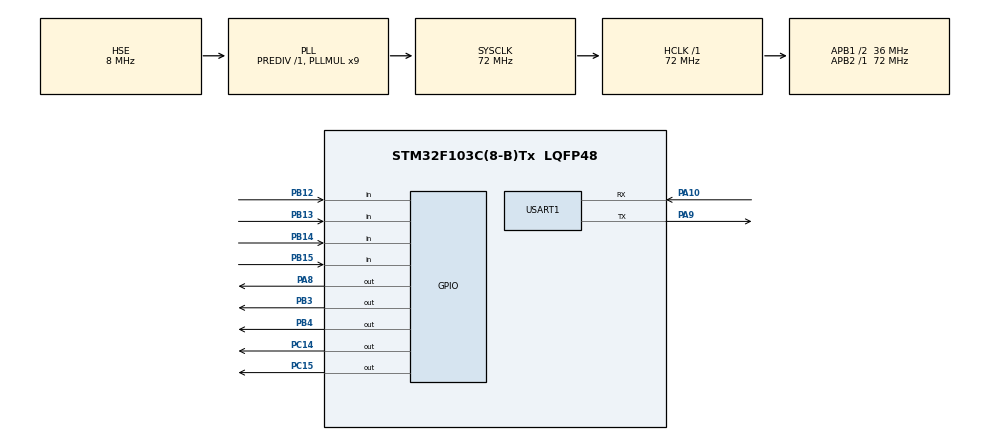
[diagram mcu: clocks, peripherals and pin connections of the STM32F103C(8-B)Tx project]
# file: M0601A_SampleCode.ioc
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Mcu.Family=STM32F1
Mcu.Name=STM32F103C(8-B)Tx
Mcu.Package=LQFP48
NVIC.PriorityGroup=NVIC_PRIORITYGROUP_4
NVIC.USART1_IRQn=true\:0\:0\:false\:false\:true\:true\:true
PA10.Mode=Asynchronous
PA10.Signal=USART1_RX
PA13.Mode=Serial_Wire
PA13.Signal=SYS_JTMS-SWDIO
PA14.Mode=Serial_Wire
PA14.Signal=SYS_JTCK-SWCLK
PA8.GPIO_Speed=GPIO_SPEED_FREQ_HIGH
PA8.Signal=GPIO_Output
PA9.Mode=Asynchronous
PA9.Signal=USART1_TX
PB12.Signal=GPIO_Input
PB13.Signal=GPIO_Input
PB14.Signal=GPIO_Input
PB15.Signal=GPIO_Input
PB3.Signal=GPIO_Output
PB4.Signal=GPIO_Output
PC14-OSC32_IN.Signal=GPIO_Output
PC15-OSC32_OUT.Signal=GPIO_Output
PD0-OSC_IN.Mode=HSE-External-Oscillator
PD0-OSC_IN.Signal=RCC_OSC_IN
PD1-OSC_OUT.Mode=HSE-External-Oscillator
PD1-OSC_OUT.Signal=RCC_OSC_OUT
ProjectManager.HeapSize=0x200
ProjectManager.StackSize=0x400
ProjectManager.TargetToolchain=MDK-ARM V5
RCC.AHBFreq_Value=72000000
RCC.APB1CLKDivider=RCC_HCLK_DIV2
RCC.APB1Freq_Value=36000000
RCC.APB1TimFreq_Value=72000000
RCC.APB2Freq_Value=72000000
RCC.APB2TimFreq_Value=72000000
RCC.HCLKFreq_Value=72000000
RCC.PLLMUL=RCC_PLL_MUL9
RCC.PLLSourceVirtual=RCC_PLLSOURCE_HSE
RCC.SYSCLKFreq_VALUE=72000000
RCC.SYSCLKSource=RCC_SYSCLKSOURCE_PLLCLK
RCC.USBFreq_Value=72000000
USART1.VirtualMode=VM_ASYNC
USART1.WordLength=WORDLENGTH_8B
board=custom

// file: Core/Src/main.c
/* USER CODE BEGIN Header */
/**
  ******************************************************************************
  * @file           : main.c
  * @brief          : Main program body
  ******************************************************************************
  * @attention
  *
  * Copyright (c) 2021 STMicroelectronics.
  * All rights reserved.
  *
  * This software is licensed under terms that can be found in the LICENSE file
  * in the root directory of this software component.
  * If no LICENSE file comes with this software, it is provided AS-IS.
  *
  ******************************************************************************
  */
/* USER CODE END Header */
#include "main.h"
#include "usart.h"
#include "gpio.h"

/* USER CODE BEGIN PV */
// Model:CRC-8/MAXIM
//polynomial x8 + x5 + x4 + 1
const char CRC8Table[]={
  0, 94, 188, 226, 97, 63, 221, 131, 194, 156, 126, 32, 163, 253, 31, 65,
  157, 195, 33, 127, 252, 162, 64, 30, 95, 1, 227, 189, 62, 96, 130, 220,
  35, 125, 159, 193, 66, 28, 254, 160, 225, 191, 93, 3, 128, 222, 60, 98,
  190, 224, 2, 92, 223, 129, 99, 61, 124, 34, 192, 158, 29, 67, 161, 255,
  70, 24, 250, 164, 39, 121, 155, 197, 132, 218, 56, 102, 229, 187, 89, 7,
  219, 133, 103, 57, 186, 228, 6, 88, 25, 71, 165, 251, 120, 38, 196, 154,
  101, 59, 217, 135, 4, 90, 184, 230, 167, 249, 27, 69, 198, 152, 122, 36,
  248, 166, 68, 26, 153, 199, 37, 123, 58, 100, 134, 216, 91, 5, 231, 185,
  140, 210, 48, 110, 237, 179, 81, 15, 78, 16, 242, 172, 47, 113, 147, 205,
  17, 79, 173, 243, 112, 46, 204, 146, 211, 141, 111, 49, 178, 236, 14, 80,
  175, 241, 19, 77, 206, 144, 114, 44, 109, 51, 209, 143, 12, 82, 176, 238,
  50, 108, 142, 208, 83, 13, 239, 177, 240, 174, 76, 18, 145, 207, 45, 115,
  202, 148, 118, 40, 171, 245, 23, 73, 8, 86, 180, 234, 105, 55, 213, 139,
  87, 9, 235, 181, 54, 104, 138, 212, 149, 203, 41, 119, 244, 170, 72, 22,
  233, 183, 85, 11, 136, 214, 52, 106, 43, 117, 151, 201, 74, 20, 246, 168,
  116, 42, 200, 150, 21, 75, 169, 247, 182, 232, 10, 84, 215, 137, 107, 53
};

uint8_t Tx[10];
uint8_t Rx[10];

/* USER CODE END PV */

void SystemClock_Config(void);

int main(void)
{

  /* MCU Configuration--------------------------------------------------------*/

  /* Reset of all peripherals, Initializes the Flash interface and the Systick. */
  HAL_Init();

  /* Configure the system clock */
  SystemClock_Config();

  /* Initialize all configured peripherals */
  MX_GPIO_Init();
  MX_USART1_UART_Init();
  /* USER CODE BEGIN 2 */
	HAL_UART_Receive_IT(&huart1,(uint8_t *)Rx,10);
	HAL_Delay(10);
  /* USER CODE END 2 */
		/*Elements sent*/
	int16_t Speed=0;//Speed of motor
	uint8_t Acce=0;//Acceleration of motor
	uint8_t Brake_P=0;//Brake position of motor
	uint8_t ID=1;//ID of Motor
	uint8_t Mode=0;//Mode of motor

  /* Infinite loop */
  /* USER CODE BEGIN WHILE */
  while (1)
  {

		LED1OFF;
		LED2OFF;
		LED3OFF;
		LED4OFF;
		switch(KEY_Scan())
		{
			case up:
			{
				LED3ON;
				Speed++;
				break;
			}
			case down:
			{
				LED4ON;
				Speed--;
				break;
			}
			case enter:
			{
				LED2ON;
				Control_Motor(Speed,ID,Acce,Brake_P);
				break;
			}
			case back:
			{
				LED1ON;
				Speed=0;
				Control_Motor(Speed,ID,Acce,Brake_P);
				break;
			}
		}
  }
	 /* USER CODE END WHILE */
}

void SystemClock_Config(void)
{
  RCC_OscInitTypeDef RCC_OscInitStruct = {0};
  RCC_ClkInitTypeDef RCC_ClkInitStruct = {0};

  /** Initializes the RCC Oscillators according to the specified parameters
  * in the RCC_OscInitTypeDef structure.
  */
  RCC_OscInitStruct.OscillatorType = RCC_OSCILLATORTYPE_HSE;
  RCC_OscInitStruct.HSEState = RCC_HSE_ON;
  RCC_OscInitStruct.HSEPredivValue = RCC_HSE_PREDIV_DIV1;
  RCC_OscInitStruct.HSIState = RCC_HSI_ON;
  RCC_OscInitStruct.PLL.PLLState = RCC_PLL_ON;
  RCC_OscInitStruct.PLL.PLLSource = RCC_PLLSOURCE_HSE;
  RCC_OscInitStruct.PLL.PLLMUL = RCC_PLL_MUL9;
  if (HAL_RCC_OscConfig(&RCC_OscInitStruct) != HAL_OK)
  {
    Error_Handler();
  }
  /** Initializes the CPU, AHB and APB buses clocks
  */
  RCC_ClkInitStruct.ClockType = RCC_CLOCKTYPE_HCLK|RCC_CLOCKTYPE_SYSCLK
                              |RCC_CLOCKTYPE_PCLK1|RCC_CLOCKTYPE_PCLK2;
  RCC_ClkInitStruct.SYSCLKSource = RCC_SYSCLKSOURCE_PLLCLK;
  RCC_ClkInitStruct.AHBCLKDivider = RCC_SYSCLK_DIV1;
  RCC_ClkInitStruct.APB1CLKDivider = RCC_HCLK_DIV2;
  RCC_ClkInitStruct.APB2CLKDivider = RCC_HCLK_DIV1;

  if (HAL_RCC_ClockConfig(&RCC_ClkInitStruct, FLASH_LATENCY_2) != HAL_OK)
  {
    Error_Handler();
  }
}

void Error_Handler(void)
{
  __disable_irq();
  while (1)
  {
  }
}
